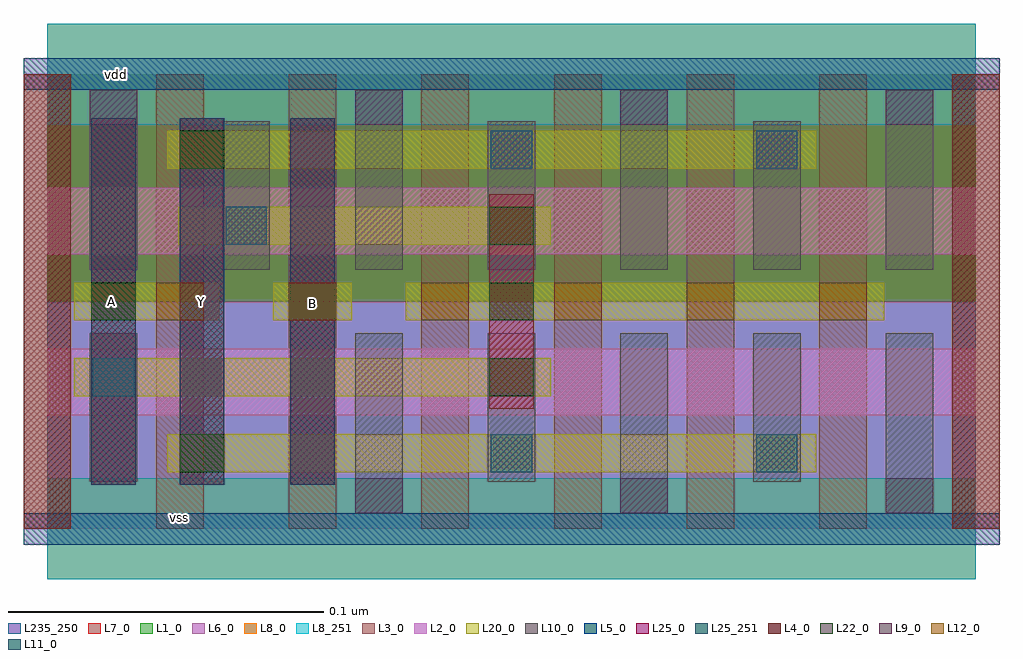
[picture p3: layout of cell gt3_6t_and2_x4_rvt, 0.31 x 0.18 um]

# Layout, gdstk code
import gdstk
lib = gdstk.Library(unit=1e-6, precision=5e-10)
def R(c, l, rs):  # rectangles x0, y0, x1, y1
    for r in rs: c.add(gdstk.rectangle(r[:2], r[2:], *l))
def A(c, l, x, y, w, h, nx, ny, dx, dy):  # array of equal rectangles
    R(c, l, [(x+i*dx, y+j*dy, x+i*dx+w, y+j*dy+h) for i in range(nx) for j in range(ny)])
L1_0 = (1, 0)
L2_0 = (2, 0)
L3_0 = (3, 0)
L4_0 = (4, 0)
L5_0 = (5, 0)
L6_0 = (6, 0)
L7_0 = (7, 0)
L8_0 = (8, 0)
L8_251 = (8, 251)
L9_0 = (9, 0)
L10_0 = (10, 0)
L11_0 = (11, 0)
L12_0 = (12, 0)
L20_0 = (20, 0)
L22_0 = (22, 0)
L25_0 = (25, 0)
L25_251 = (25, 251)
L235_250 = (235, 250)

gt3_6t_and2_x4_rvt = lib.new_cell('gt3_6t_and2_x4_rvt')
R(gt3_6t_and2_x4_rvt, L1_0, [(0,0.072,0.294,0.144)])
R(gt3_6t_and2_x4_rvt, L2_0, [(0,0.036,0.294,0.057), (0,0.087,0.294,0.108)])
A(gt3_6t_and2_x4_rvt, L3_0, -0.0075, 0, 0.015, 0.144, 8, 1, 0.042, 0)
R(gt3_6t_and2_x4_rvt, L4_0, [(-0.0075,0,0.0075,0.144), (0.2865,0,0.3015,0.144)])
R(gt3_6t_and2_x4_rvt, L5_0, [(-0.0075,-0.005,0.3015,0.005), (-0.0075,0.139,0.3015,0.149)])
R(gt3_6t_and2_x4_rvt, L6_0, [(0,0,0.294,0.072)])
R(gt3_6t_and2_x4_rvt, L7_0, [(0,0.072,0.294,0.144)])
R(gt3_6t_and2_x4_rvt, L8_0, [(0,-0.016,0.294,0.016), (0,0.128,0.294,0.16)])
R(gt3_6t_and2_x4_rvt, L8_251, [(0,-0.016,0.294,0.016), (0,0.128,0.294,0.16)])
A(gt3_6t_and2_x4_rvt, L9_0, 0.0975, 0.005, 0.015, 0.011, 3, 1, 0.084, 0)
A(gt3_6t_and2_x4_rvt, L9_0, 0.0135, 0.128, 0.015, 0.011, 4, 1, 0.084, 0)
A(gt3_6t_and2_x4_rvt, L10_0, 0.0975, 0.005, 0.015, 0.057, 3, 1, 0.084, 0)
A(gt3_6t_and2_x4_rvt, L10_0, 0.0135, 0.082, 0.015, 0.057, 4, 1, 0.084, 0)
A(gt3_6t_and2_x4_rvt, L10_0, 0.0555, 0.082, 0.015, 0.047, 3, 1, 0.084, 0)
R(gt3_6t_and2_x4_rvt, L10_0, [(0.0135,0.015,0.0285,0.062), (0.1395,0.015,0.1545,0.062), (0.2235,0.015,0.2385,0.062)])
R(gt3_6t_and2_x4_rvt, L11_0, [(0.1405,0.018,0.1535,0.03), (0.2245,0.018,0.2375,0.03), (0.0145,0.042,0.0275,0.054), (0.0565,0.09,0.0695,0.102), (0.1405,0.114,0.1535,0.126), (0.2245,0.114,0.2375,0.126)])
A(gt3_6t_and2_x4_rvt, L12_0, 0.0345, 0.066, 0.015, 0.012, 6, 1, 0.042, 0)
R(gt3_6t_and2_x4_rvt, L20_0, [(0.038,0.018,0.2435,0.03), (0.0085,0.042,0.1595,0.054), (0.0085,0.066,0.0545,0.078), (0.0715,0.066,0.0965,0.078), (0.1135,0.066,0.265,0.078), (0.0415,0.09,0.1595,0.102), (0.038,0.114,0.2435,0.126)])
A(gt3_6t_and2_x4_rvt, L22_0, 0.014, 0.066, 0.014, 0.012, 3, 1, 0.063, 0)
R(gt3_6t_and2_x4_rvt, L22_0, [(0.042,0.018,0.056,0.03), (0.14,0.042,0.154,0.054), (0.14,0.09,0.154,0.102), (0.042,0.114,0.056,0.126)])
R(gt3_6t_and2_x4_rvt, L25_0, [(0.014,0.014,0.028,0.13), (0.042,0.014,0.056,0.13), (0.077,0.014,0.091,0.13), (0.14,0.038,0.154,0.106)])
R(gt3_6t_and2_x4_rvt, L25_251, [(0.014,0.014,0.028,0.13), (0.042,0.014,0.056,0.13), (0.077,0.014,0.091,0.13)])
R(gt3_6t_and2_x4_rvt, L235_250, [(0,0,0.294,0.144)])
gt3_6t_and2_x4_rvt.add(gdstk.Label('vss', (0.042,0.0035), layer=8, texttype=251))
gt3_6t_and2_x4_rvt.add(gdstk.Label('vdd', (0.022,0.144), layer=8, texttype=251))
gt3_6t_and2_x4_rvt.add(gdstk.Label('Y', (0.049,0.072), layer=25, texttype=251))
gt3_6t_and2_x4_rvt.add(gdstk.Label('B', (0.084,0.0715), layer=25, texttype=251))
gt3_6t_and2_x4_rvt.add(gdstk.Label('A', (0.0205,0.072), layer=25, texttype=251))

lib.write_gds('gt3_6t_and2_x4_rvt.gds')
